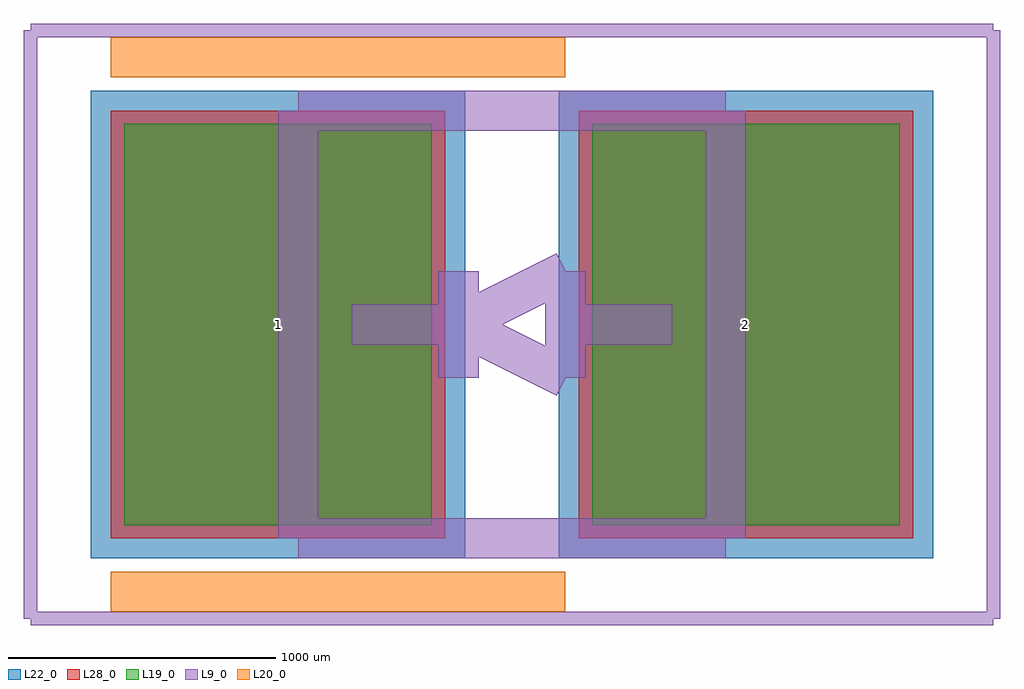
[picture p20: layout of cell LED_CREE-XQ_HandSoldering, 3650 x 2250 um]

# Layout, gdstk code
import gdstk
lib = gdstk.Library(unit=1e-6, precision=1e-09)
def R(c, l, rs):  # rectangles x0, y0, x1, y1
    for r in rs: c.add(gdstk.rectangle(r[:2], r[2:], *l))
L9_0 = (9, 0)
L19_0 = (19, 0)
L20_0 = (20, 0)
L22_0 = (22, 0)
L28_0 = (28, 0)

led_cree_xq_handsolderin = lib.new_cell('LED_CREE-XQ_HandSoldering')
R(led_cree_xq_handsolderin, L19_0, [(-1450,-750,-300,750), (300,-750,1450,750)])
R(led_cree_xq_handsolderin, L22_0, [(-1575,-875,-175,875), (175,-875,1575,875)])
R(led_cree_xq_handsolderin, L28_0, [(-1500,-800,-250,800), (250,-800,1500,800)])
led_cree_xq_handsolderin.add(gdstk.FlexPath([(-800,800),(800,800)], 149.998, ends="flush", simple_path=True, layer=9, datatype=0))  # L9_0
led_cree_xq_handsolderin.add(gdstk.FlexPath([(800,800),(800,-800)], 149.998, ends="flush", simple_path=True, layer=9, datatype=0))  # L9_0
led_cree_xq_handsolderin.add(gdstk.FlexPath([(800,-800),(-800,-800)], 149.998, ends="flush", simple_path=True, layer=9, datatype=0))  # L9_0
led_cree_xq_handsolderin.add(gdstk.FlexPath([(-800,-800),(-800,800)], 149.998, ends="flush", simple_path=True, layer=9, datatype=0))  # L9_0
led_cree_xq_handsolderin.add(gdstk.FlexPath([(600,0),(200,0)], 149.998, ends="flush", simple_path=True, layer=9, datatype=0))  # L9_0
led_cree_xq_handsolderin.add(gdstk.FlexPath([(-600,0),(-200,0)], 149.998, ends="flush", simple_path=True, layer=9, datatype=0))  # L9_0
led_cree_xq_handsolderin.add(gdstk.FlexPath([(-200,200),(-200,-200)], 149.998, ends="flush", simple_path=True, layer=9, datatype=0))  # L9_0
led_cree_xq_handsolderin.add(gdstk.FlexPath([(-200,0),(200,200)], 149.998, ends="flush", simple_path=True, layer=9, datatype=0))  # L9_0
led_cree_xq_handsolderin.add(gdstk.FlexPath([(200,200),(200,-200)], 149.998, ends="flush", simple_path=True, layer=9, datatype=0))  # L9_0
led_cree_xq_handsolderin.add(gdstk.FlexPath([(200,-200),(-200,0)], 149.998, ends="flush", simple_path=True, layer=9, datatype=0))  # L9_0
led_cree_xq_handsolderin.add(gdstk.FlexPath([(200,1000),(-1500,1000)], 149.998, ends="flush", simple_path=True, layer=20, datatype=0))  # L20_0
led_cree_xq_handsolderin.add(gdstk.FlexPath([(200,-1000),(-1500,-1000)], 149.998, ends="flush", simple_path=True, layer=20, datatype=0))  # L20_0
led_cree_xq_handsolderin.add(gdstk.FlexPath([(1800,1100),(1800,-1100)], 50, ends="flush", simple_path=True, layer=9, datatype=0))  # L9_0
led_cree_xq_handsolderin.add(gdstk.FlexPath([(1800,-1100),(-1800,-1100)], 50, ends="flush", simple_path=True, layer=9, datatype=0))  # L9_0
led_cree_xq_handsolderin.add(gdstk.FlexPath([(-1800,-1100),(-1800,1100)], 50, ends="flush", simple_path=True, layer=9, datatype=0))  # L9_0
led_cree_xq_handsolderin.add(gdstk.FlexPath([(-1800,1100),(1800,1100)], 50, ends="flush", simple_path=True, layer=9, datatype=0))  # L9_0
led_cree_xq_handsolderin.add(gdstk.Label('2', (875,0), layer=28, texttype=0))
led_cree_xq_handsolderin.add(gdstk.Label('1', (-875,0), layer=28, texttype=0))
led_cree_xq_handsolderin.add(gdstk.Label('type', (0,2000), layer=9, texttype=0))
led_cree_xq_handsolderin.add(gdstk.Label('devicename', (0,-2000), layer=9, texttype=0))

lib.write_gds('LED_CREE-XQ_HandSoldering.gds')
